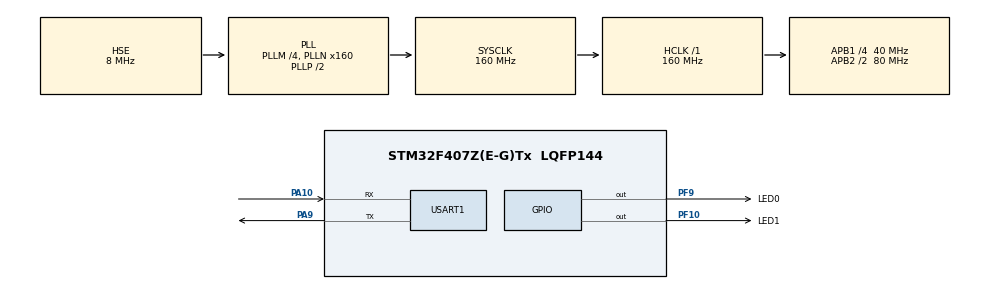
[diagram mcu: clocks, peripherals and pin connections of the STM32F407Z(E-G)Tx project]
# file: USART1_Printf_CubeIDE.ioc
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Mcu.Family=STM32F4
Mcu.Name=STM32F407Z(E-G)Tx
Mcu.Package=LQFP144
NVIC.PriorityGroup=NVIC_PRIORITYGROUP_4
PA10.Mode=Asynchronous
PA10.Signal=USART1_RX
PA13.Mode=Serial_Wire
PA13.Signal=SYS_JTMS-SWDIO
PA14.Mode=Serial_Wire
PA14.Signal=SYS_JTCK-SWCLK
PA9.Mode=Asynchronous
PA9.Signal=USART1_TX
PC14-OSC32_IN.Mode=LSE-External-Oscillator
PC14-OSC32_IN.Signal=RCC_OSC32_IN
PC15-OSC32_OUT.Mode=LSE-External-Oscillator
PC15-OSC32_OUT.Signal=RCC_OSC32_OUT
PF10.GPIO_Label=LED1
PF10.GPIO_PuPd=GPIO_PULLDOWN
PF10.GPIO_Speed=GPIO_SPEED_FREQ_HIGH
PF10.PinState=GPIO_PIN_SET
PF10.Signal=GPIO_Output
PF9.GPIO_Label=LED0
PF9.GPIO_PuPd=GPIO_PULLDOWN
PF9.GPIO_Speed=GPIO_SPEED_FREQ_HIGH
PF9.PinState=GPIO_PIN_SET
PF9.Signal=GPIO_Output
PH0-OSC_IN.Mode=HSE-External-Oscillator
PH0-OSC_IN.Signal=RCC_OSC_IN
PH1-OSC_OUT.Mode=HSE-External-Oscillator
PH1-OSC_OUT.Signal=RCC_OSC_OUT
ProjectManager.HeapSize=0x200
ProjectManager.StackSize=0x400
ProjectManager.TargetToolchain=STM32CubeIDE
RCC.48MHZClocksFreq_Value=80000000
RCC.AHBFreq_Value=160000000
RCC.APB1CLKDivider=RCC_HCLK_DIV4
RCC.APB1Freq_Value=40000000
RCC.APB1TimFreq_Value=80000000
RCC.APB2CLKDivider=RCC_HCLK_DIV2
RCC.APB2Freq_Value=80000000
RCC.APB2TimFreq_Value=160000000
RCC.CortexFreq_Value=160000000
RCC.HCLKFreq_Value=160000000
RCC.HSE_VALUE=8000000
RCC.HSI_VALUE=16000000
RCC.PLLM=4
RCC.PLLN=160
RCC.PLLSourceVirtual=RCC_PLLSOURCE_HSE
RCC.SYSCLKFreq_VALUE=160000000
RCC.SYSCLKSource=RCC_SYSCLKSOURCE_PLLCLK
RCC.VCOOutputFreq_Value=320000000
USART1.VirtualMode=VM_ASYNC
board=custom

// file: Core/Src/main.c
/* USER CODE BEGIN Header */
/**
  ******************************************************************************
  * @file           : main.c
  * @brief          : Main program body
  ******************************************************************************
  * @attention
  *
  * Copyright (c) 2022 STMicroelectronics.
  * All rights reserved.
  *
  * This software is licensed under terms that can be found in the LICENSE file
  * in the root directory of this software component.
  * If no LICENSE file comes with this software, it is provided AS-IS.
  *
  ******************************************************************************
  */
/* USER CODE END Header */
#include "main.h"
#include "usart.h"
#include "gpio.h"

void SystemClock_Config(void);

/* USER CODE BEGIN 0 */

#include "stdio.h"

// 重定向print BEGIN
int __io_putchar(int ch)
{
	while ((USART1->SR & 0X40) == 0);  //循环发送，直到发完，USART1可改为其他串口号
	USART1->DR = (uint8_t) ch;
	return ch;
}

//_write函数在syscalls.c中， 使用__weak定义， 所以可以直接在其他文件中定义_write函數
__attribute__((weak)) int _write(int file, char *ptr, int len)
{
	int DataIdx;
	for (DataIdx = 0; DataIdx < len; DataIdx++)
	{
		__io_putchar(*ptr++);
	}
	return len;
}
// 重定向print END
// 重定向scanf BEGIN
int __io_getchar()
{
	int ch;
	HAL_UART_Receive(&huart1, (uint8_t *)&ch, 1, 0xFFFF);	//接收一个字节
	return ch;
}
// 重定向scanf END

/* USER CODE END 0 */

int main(void)
{

  /* MCU Configuration--------------------------------------------------------*/

  /* Reset of all peripherals, Initializes the Flash interface and the Systick. */
  HAL_Init();

  /* Configure the system clock */
  SystemClock_Config();

  /* Initialize all configured peripherals */
  MX_GPIO_Init();
  MX_USART1_UART_Init();
  /* USER CODE BEGIN 2 */

  setvbuf(stdin, NULL, _IONBF, 0);
  setvbuf(stdout, NULL, _IONBF, 0);

  /* USER CODE END 2 */

  /* Infinite loop */
  while (1)
  {

    /* USER CODE BEGIN 3 */

//	  float adc_reg = 0.0;//模拟ADC数据
//	  float adc_result;//模拟ADC数据的计算结果
////	  double adc_reg = 0.0;//模拟ADC数据//双精度浮点测试
////	  double adc_result;//模拟ADC数据的计算结果//双精度浮点测试
//
//	  for(adc_reg = 0.1;adc_reg<400;adc_reg++)
//	  {
//		  adc_result = adc_reg*33/4096;//ADC计算
//
//		  printf("ADC = %f\r\n",adc_result);//浮点输出
////		  printf("ADC = %lf\r\n",adc_result);//浮点输出//双精度浮点测试//%lf可以输出double类型的数据
//		  HAL_Delay(12);
//		  printf("OK\r\n");//正常文字输出
		  HAL_Delay(12);
		  HAL_GPIO_TogglePin(LED0_GPIO_Port, LED0_Pin);//翻转工作指示灯
//	  }

	  //22·10·22预期实现：
	  //scanf接收翻转接收LED √
	  //添加更多注释 √
	  //浮点接收 √
	  //git新增非代码文件 √
	  //dma@scanf高速接收
	  //git更改非代码文件

//	  char receive[20] = {0};//注意接收字符串要使用char数组，注意数组初始化方式，使用初始化为0来清空字符串
//	  printf("\r\nPlease Input:");
//	  scanf("%s",&receive[0]);//注意取地址符和数组配合//重定义的scanf()在读到 空格 时才会认为字符串结束
//	  if(receive[1])//如果判断receive，会有receive常为真的worring
//	  {
//		  printf("%s\r\n",receive);//printf最好加上换行符，不容易卡死
//		  HAL_GPIO_TogglePin(LED1_GPIO_Port, LED1_Pin);//翻转接收指示灯
//	  }

	  float receive = 0.0;//接收浮点数
	  printf("\r\nPlease Input float type:");
	  scanf("%f",&receive);//注意取地址符和数组配合//重定义的scanf()在读到 空格 时才会认为字符串结束
	  if(receive)
	  {
		  printf("%3.4f\r\n",receive);//printf要加上换行符，不容易卡死
		  HAL_GPIO_TogglePin(LED1_GPIO_Port, LED1_Pin);//翻转接收指示灯
	  }

  }
  /* USER CODE END 3 */
}

void SystemClock_Config(void)
{
  RCC_OscInitTypeDef RCC_OscInitStruct = {0};
  RCC_ClkInitTypeDef RCC_ClkInitStruct = {0};

  /** Configure the main internal regulator output voltage
  */
  __HAL_RCC_PWR_CLK_ENABLE();
  __HAL_PWR_VOLTAGESCALING_CONFIG(PWR_REGULATOR_VOLTAGE_SCALE1);

  /** Initializes the RCC Oscillators according to the specified parameters
  * in the RCC_OscInitTypeDef structure.
  */
  RCC_OscInitStruct.OscillatorType = RCC_OSCILLATORTYPE_HSE;
  RCC_OscInitStruct.HSEState = RCC_HSE_ON;
  RCC_OscInitStruct.PLL.PLLState = RCC_PLL_ON;
  RCC_OscInitStruct.PLL.PLLSource = RCC_PLLSOURCE_HSE;
  RCC_OscInitStruct.PLL.PLLM = 4;
  RCC_OscInitStruct.PLL.PLLN = 160;
  RCC_OscInitStruct.PLL.PLLP = RCC_PLLP_DIV2;
  RCC_OscInitStruct.PLL.PLLQ = 4;
  if (HAL_RCC_OscConfig(&RCC_OscInitStruct) != HAL_OK)
  {
    Error_Handler();
  }

  /** Initializes the CPU, AHB and APB buses clocks
  */
  RCC_ClkInitStruct.ClockType = RCC_CLOCKTYPE_HCLK|RCC_CLOCKTYPE_SYSCLK
                              |RCC_CLOCKTYPE_PCLK1|RCC_CLOCKTYPE_PCLK2;
  RCC_ClkInitStruct.SYSCLKSource = RCC_SYSCLKSOURCE_PLLCLK;
  RCC_ClkInitStruct.AHBCLKDivider = RCC_SYSCLK_DIV1;
  RCC_ClkInitStruct.APB1CLKDivider = RCC_HCLK_DIV4;
  RCC_ClkInitStruct.APB2CLKDivider = RCC_HCLK_DIV2;

  if (HAL_RCC_ClockConfig(&RCC_ClkInitStruct, FLASH_LATENCY_5) != HAL_OK)
  {
    Error_Handler();
  }
}

void Error_Handler(void)
{
  __disable_irq();
  while (1)
  {
  }
}
